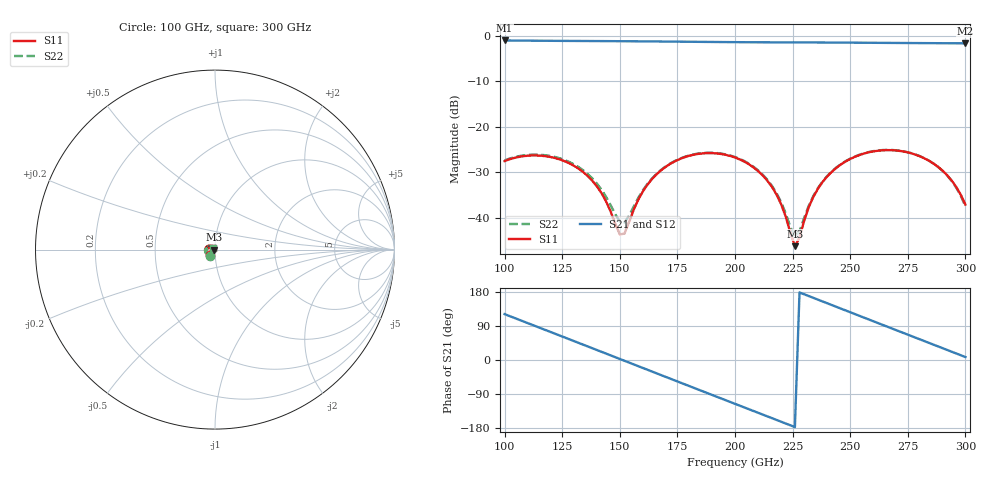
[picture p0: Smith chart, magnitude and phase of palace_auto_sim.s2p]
#  GHZ S DB R 50
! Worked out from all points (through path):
!   101 points, 100 GHz to 300 GHz, reference 50 ohm
!   highest |S21| = -1.03 dB at 100 GHz (marker M1); lowest = -1.7 dB at 300 GHz (marker M2)
!   group delay of S21, straight-line fit = 6.57 ps
!   lowest |S11| = -46.2 dB at 226 GHz (marker M3), VSWR 1.01, Z = 49.5 - j0.0374 ohm
!   |S11| at or under -10 dB: start of sweep to end of sweep
!   |S22| runs from -44.1 to -25.1 dB; largest |S21 - S12| = 1e-13
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100  -27.52 -129.6  -1.03 121.1  -1.03 121.1  -27.37 -127.3
116  -26.34 -164.7  -1.10 83.3  -1.10 83.3  -26.15 -161.6
134  -29.88 158.3  -1.15 40.7  -1.15 40.7  -29.51 163.2
142  -34.50 148.0  -1.17 21.7  -1.17 21.7  -33.76 155.1
150  -43.62 -176.7  -1.20 2.8  -1.20 2.8  -40.79 -174.7
152  -43.45 -145.4  -1.20 -2.0  -1.20 -2.0  -40.98 -152.7
160  -34.19 -112.8  -1.23 -21.0  -1.23 -21.0  -33.95 -117.8
168  -29.50 -123.6  -1.26 -40.0  -1.26 -40.0  -29.42 -125.4
184  -25.94 -156.9  -1.34 -77.9  -1.34 -77.9  -25.87 -156.5
200  -26.73 167.7  -1.41 -115.6  -1.41 -115.6  -26.62 169.4
216  -33.16 137.4  -1.45 -153.4  -1.45 -153.4  -32.93 141.3
220  -36.95 135.5  -1.45 -162.8  -1.45 -162.8  -36.53 140.8
226  -46.20 -175.6  -1.46 -177.0  -1.46 -177.0  -44.14 -174.2
234  -35.38 -112.9  -1.48 164.0  -1.48 164.0  -35.18 -115.6
240  -30.90 -119.5  -1.49 149.8  -1.49 149.8  -30.80 -120.4
248  -27.60 -134.2  -1.51 130.8  -1.51 130.8  -27.54 -134.1
258  -25.59 -154.9  -1.54 107.1  -1.54 107.1  -25.54 -154.1
268  -25.12 -176.2  -1.58 83.4  -1.58 83.4  -25.07 -175.1
278  -26.04 162.7  -1.61 59.8  -1.61 59.8  -26.01 164.0
288  -28.73 142.8  -1.63 36.2  -1.63 36.2  -28.74 144.1
294  -31.76 133.3  -1.65 22.0  -1.65 22.0  -31.85 134.2
300  -37.08 131.5  -1.66 7.8  -1.66 7.8  -37.45 131.7
